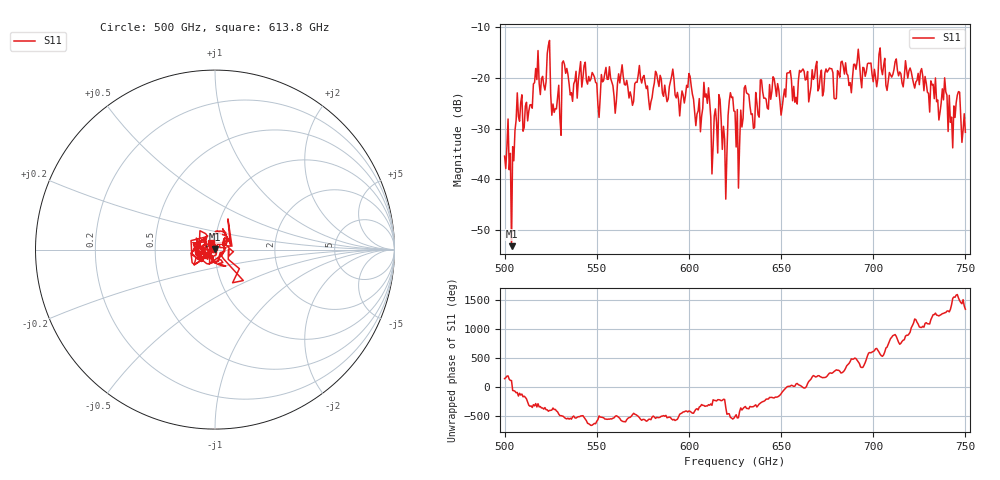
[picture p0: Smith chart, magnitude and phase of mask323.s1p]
!Created with skrf (http://scikit-rf.org).
# GHz S MA R 50.0
!freq magS11 angS11
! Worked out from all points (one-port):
!   401 points, 500 GHz to 750 GHz, reference 50 ohm
!   lowest |S11| = -53.2 dB at 503.8 GHz (marker M1), VSWR 1.00, Z = 49.9 + j0.21 ohm
!   |S11| at or under -10 dB: start of sweep to end of sweep
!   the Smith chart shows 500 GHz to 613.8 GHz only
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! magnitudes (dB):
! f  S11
! 500 GHz  -35.4
! 503.8 GHz  -53.2
! 508.1 GHz  -28.6
! 513.8 GHz  -25.3
! 516.9 GHz  -18.2
! 523.8 GHz  -13.6
! 526.9 GHz  -26.8
! 531.2 GHz  -17.0
! 532.5 GHz  -17.4
! 550.6 GHz  -25.3
! 562.5 GHz  -21.0
! 593.8 GHz  -22.9
! 609.4 GHz  -23.2
! 612.5 GHz  -39.0
! 617.5 GHz  -28.3
! 619.4 GHz  -32.1
! 622.5 GHz  -22.9
! 625 GHz  -26.6
! 626.9 GHz  -41.8
! 631.2 GHz  -23.0
! 634.4 GHz  -27.1
! 656.2 GHz  -24.5
! 687.5 GHz  -21.0
! 718.8 GHz  -20.1
! 738.8 GHz  -20.0
! 741.9 GHz  -28.8
! 746.2 GHz  -22.7
! 750 GHz  -30.8
